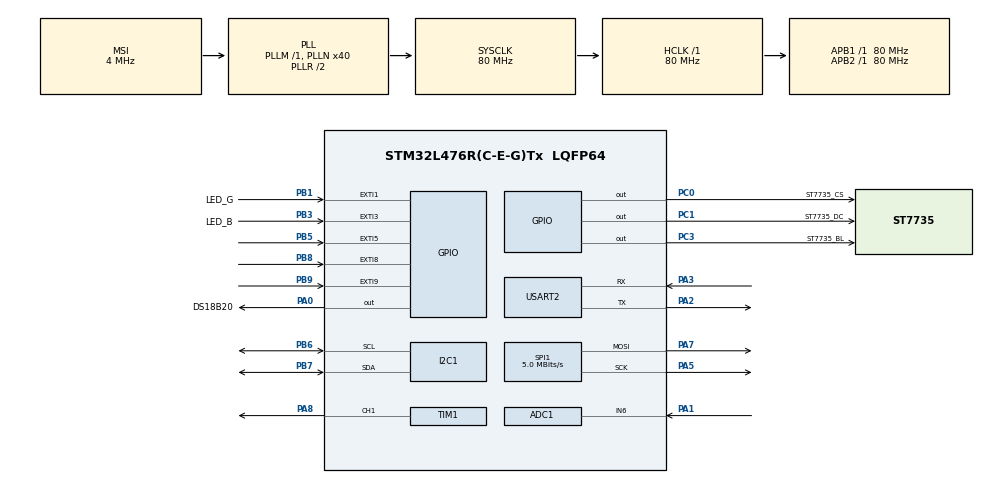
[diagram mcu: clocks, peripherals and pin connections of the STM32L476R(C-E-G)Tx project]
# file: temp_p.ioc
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ADC1.Channel-1\#ChannelRegularConversion=ADC_CHANNEL_6
ADC1.NbrOfConversionFlag=1
ADC1.OffsetNumber-1\#ChannelRegularConversion=ADC_OFFSET_NONE
ADC1.Rank-1\#ChannelRegularConversion=1
ADC1.SamplingTime-1\#ChannelRegularConversion=ADC_SAMPLETIME_2CYCLES_5
ADC1.master=1
I2C1.Timing=0x10D19CE4
Mcu.Family=STM32L4
Mcu.Name=STM32L476R(C-E-G)Tx
Mcu.Package=LQFP64
NVIC.EXTI9_5_IRQn=true\:0\:0\:false\:false\:true\:true\:true\:true
NVIC.PriorityGroup=NVIC_PRIORITYGROUP_4
PA0.GPIO_Label=DS18B20
PA0.GPIO_ModeDefaultOutputPP=GPIO_MODE_OUTPUT_OD
PA0.GPIO_PuPd=GPIO_NOPULL
PA0.GPIO_Speed=GPIO_SPEED_FREQ_HIGH
PA0.Signal=GPIO_Output
PA1.Signal=ADCx_IN6
PA13\ (JTMS-SWDIO).Mode=Serial_Wire
PA13\ (JTMS-SWDIO).Signal=SYS_JTMS-SWDIO
PA14\ (JTCK-SWCLK).Mode=Serial_Wire
PA14\ (JTCK-SWCLK).Signal=SYS_JTCK-SWCLK
PA2.Mode=Asynchronous
PA2.Signal=USART2_TX
PA3.Mode=Asynchronous
PA3.Signal=USART2_RX
PA5.Mode=TX_Only_Simplex_Unidirect_Master
PA5.Signal=SPI1_SCK
PA7.Mode=TX_Only_Simplex_Unidirect_Master
PA7.Signal=SPI1_MOSI
PA8.Signal=S_TIM1_CH1
PB1.GPIO_Label=LED_G
PB1.Signal=GPXTI1
PB3\ (JTDO-TRACESWO).GPIO_Label=LED_B
PB3\ (JTDO-TRACESWO).Signal=GPXTI3
PB5.GPIO_ModeDefaultEXTI=GPIO_MODE_IT_RISING_FALLING
PB5.GPIO_PuPd=GPIO_PULLUP
PB5.Signal=GPXTI5
PB6.Mode=I2C
PB6.Signal=I2C1_SCL
PB7.Mode=I2C
PB7.Signal=I2C1_SDA
PB8.GPIO_ModeDefaultEXTI=GPIO_MODE_IT_RISING_FALLING
PB8.GPIO_PuPd=GPIO_PULLUP
PB8.Signal=GPXTI8
PB9.GPIO_ModeDefaultEXTI=GPIO_MODE_IT_RISING_FALLING
PB9.GPIO_PuPd=GPIO_PULLUP
PB9.Signal=GPXTI9
PC0.GPIO_Label=ST7735_CS
PC0.Signal=GPIO_Output
PC1.GPIO_Label=ST7735_DC
PC1.Signal=GPIO_Output
PC2.GPIO_Label=RST
PC2.Signal=EVENTOUT
PC3.GPIO_Label=ST7735_BL
PC3.Signal=GPIO_Output
PH0-OSC_IN\ (PH0).Mode=HSE-External-Oscillator
PH0-OSC_IN\ (PH0).Signal=RCC_OSC_IN
PH1-OSC_OUT\ (PH1).Mode=HSE-External-Oscillator
PH1-OSC_OUT\ (PH1).Signal=RCC_OSC_OUT
ProjectManager.HeapSize=0x200
ProjectManager.StackSize=0x400
ProjectManager.TargetToolchain=STM32CubeIDE
RCC.ADCFreq_Value=32000000
RCC.AHBFreq_Value=80000000
RCC.APB1Freq_Value=80000000
RCC.APB1TimFreq_Value=80000000
RCC.APB2Freq_Value=80000000
RCC.APB2TimFreq_Value=80000000
RCC.CortexFreq_Value=80000000
RCC.HCLKFreq_Value=80000000
RCC.HSE_VALUE=8000000
RCC.HSI_VALUE=16000000
RCC.LSE_VALUE=32768
RCC.MSI_VALUE=4000000
RCC.PLLN=40
RCC.PLLSAI1N=16
RCC.SYSCLKFreq_VALUE=80000000
RCC.SYSCLKSource=RCC_SYSCLKSOURCE_PLLCLK
RCC.USBFreq_Value=32000000
RCC.VCOOutputFreq_Value=160000000
SH.ADCx_IN6.0=ADC1_IN6,IN6-Single-Ended
SH.S_TIM1_CH1.0=TIM1_CH1,PWM Generation1 CH1
SPI1.BaudRatePrescaler=SPI_BAUDRATEPRESCALER_16
SPI1.CalculateBaudRate=5.0 MBits/s
SPI1.Direction=SPI_DIRECTION_2LINES
SPI1.Mode=SPI_MODE_MASTER
SPI1.VirtualType=VM_MASTER
TIM1.Channel-PWM\ Generation1\ CH1=TIM_CHANNEL_1
TIM1.Period=3199
TIM2.Period=65535
TIM2.Prescaler=79
USART2.VirtualMode-Asynchronous=VM_ASYNC
VP_TIM2_VS_ClockSourceINT.Mode=Internal
board=custom

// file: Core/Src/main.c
/* USER CODE BEGIN Header */
/**
  ******************************************************************************
  * @file           : main.c
  * @brief          : Main program body
  ******************************************************************************
  * @attention
  *
  * Copyright (c) 2026 STMicroelectronics.
  * All rights reserved.
  *
  * This software is licensed under terms that can be found in the LICENSE file
  * in the root directory of this software component.
  * If no LICENSE file comes with this software, it is provided AS-IS.
  *
  ******************************************************************************
  */
/* USER CODE END Header */
#include "main.h"
#include "adc.h"
#include "i2c.h"
#include "spi.h"
#include "tim.h"
#include "usart.h"
#include "gpio.h"

/* USER CODE BEGIN Includes */
#include <stdio.h>
#include <string.h>
#include "ds18b20.h"
#include "encoder.h"
#include "thermostat.h"
#include "st7735.h"
/* USER CODE END Includes */

void SystemClock_Config(void);

/* USER CODE BEGIN 0 */
static uint8_t ADC_ReadPWM(void)
{
    HAL_ADC_Start(&hadc1);
    HAL_ADC_PollForConversion(&hadc1, 10);
    uint32_t val = HAL_ADC_GetValue(&hadc1);
    HAL_ADC_Stop(&hadc1);
    return (uint8_t)(val * 100 / 4095);
}

static void Display_Update(float temp, float setpoint, uint8_t pwm, const char* state_str)
{
    char buf[22];
    sprintf(buf, "Temp: %5.1f C  ", temp);
    ST7735_WriteString(5, 10, buf, Font_7x10, ST7735_WHITE, ST7735_BLACK);
    sprintf(buf, "Set:  %5.1f C  ", setpoint);
    ST7735_WriteString(5, 30, buf, Font_7x10, ST7735_WHITE, ST7735_BLACK);
    sprintf(buf, "PWM:    %3d %%  ", pwm);
    ST7735_WriteString(5, 50, buf, Font_7x10, ST7735_WHITE, ST7735_BLACK);
    sprintf(buf, "Stan: %-8s", state_str);
    ST7735_WriteString(5, 70, buf, Font_7x10, ST7735_WHITE, ST7735_BLACK);
}
/* USER CODE END 0 */

int main(void)
{

  /* MCU Configuration--------------------------------------------------------*/

  /* Reset of all peripherals, Initializes the Flash interface and the Systick. */
  HAL_Init();

  /* Configure the system clock */
  SystemClock_Config();

  /* Initialize all configured peripherals */
  MX_GPIO_Init();
  MX_I2C1_Init();
  MX_TIM1_Init();
  MX_TIM2_Init();
  MX_USART2_UART_Init();
  MX_SPI1_Init();
  MX_ADC1_Init();
  /* USER CODE BEGIN 2 */
  HAL_TIM_PWM_Start(&htim1, TIM_CHANNEL_1);
  __HAL_TIM_SET_COMPARE(&htim1,TIM_CHANNEL_1,0);
  //HAL_ADCEx_Calibration_Start(&hadc1, ADC_SINGLE_ENDED);
  DS18B20_Init();
  Encoder_Init();
  Thermostat_Init();
  ST7735_Init();
  ST7735_FillScreen(ST7735_BLACK);
  /* USER CODE END 2 */

  /* Infinite loop */
  while (1)
  {

    /* USER CODE BEGIN 3 */
	  float temp = DS18B20_ReadTemp();
	  float setpoint = Encoder_GetSetpoint();
	  //uint8_t pwm = ADC_ReadPWM();
	  //Thermostat_SetPWM(pwm);
	  Thermostat_Update(temp, setpoint);

	  ThermoState_t state = Thermostat_GetState();
	  HAL_GPIO_WritePin(GPIOB, GPIO_PIN_0, state == THERMO_COOLDOWN ? GPIO_PIN_RESET : GPIO_PIN_SET); // R
	  HAL_GPIO_WritePin(GPIOB, GPIO_PIN_1, state == THERMO_FAN_ON  ? GPIO_PIN_RESET : GPIO_PIN_SET); // G
	  HAL_GPIO_WritePin(GPIOB, GPIO_PIN_3, state == THERMO_IDLE    ? GPIO_PIN_RESET : GPIO_PIN_SET); // B
	  const char* state_str;
	  switch(state)
	  {
	      case THERMO_IDLE:     state_str = "IDLE";     break;
	      case THERMO_FAN_ON:   state_str = "FAN_ON";   break;
	      case THERMO_COOLDOWN: state_str = "COOLDOWN"; break;
	      default:              state_str = "UNKNOWN";  break;
	  }

	  Display_Update(temp, setpoint, Thermostat_GetPWM(), state_str);

	  char uart_buf[64];
	  int uart_len = snprintf(uart_buf, sizeof(uart_buf), "T=%.2f SP=%.2f PWM=%d STATE=%s\r\n",
	                          temp, setpoint, Thermostat_GetPWM(), state_str);
	  HAL_UART_Transmit(&huart2, (uint8_t*)uart_buf, uart_len, 200);

	  HAL_Delay(500);
  }
  /* USER CODE END 3 */
}

void SystemClock_Config(void)
{
  RCC_OscInitTypeDef RCC_OscInitStruct = {0};
  RCC_ClkInitTypeDef RCC_ClkInitStruct = {0};

  /** Configure the main internal regulator output voltage
  */
  if (HAL_PWREx_ControlVoltageScaling(PWR_REGULATOR_VOLTAGE_SCALE1) != HAL_OK)
  {
    Error_Handler();
  }

  /** Initializes the RCC Oscillators according to the specified parameters
  * in the RCC_OscInitTypeDef structure.
  */
  RCC_OscInitStruct.OscillatorType = RCC_OSCILLATORTYPE_MSI;
  RCC_OscInitStruct.MSIState = RCC_MSI_ON;
  RCC_OscInitStruct.MSICalibrationValue = 0;
  RCC_OscInitStruct.MSIClockRange = RCC_MSIRANGE_6;
  RCC_OscInitStruct.PLL.PLLState = RCC_PLL_ON;
  RCC_OscInitStruct.PLL.PLLSource = RCC_PLLSOURCE_MSI;
  RCC_OscInitStruct.PLL.PLLM = 1;
  RCC_OscInitStruct.PLL.PLLN = 40;
  RCC_OscInitStruct.PLL.PLLP = RCC_PLLP_DIV7;
  RCC_OscInitStruct.PLL.PLLQ = RCC_PLLQ_DIV2;
  RCC_OscInitStruct.PLL.PLLR = RCC_PLLR_DIV2;
  if (HAL_RCC_OscConfig(&RCC_OscInitStruct) != HAL_OK)
  {
    Error_Handler();
  }

  /** Initializes the CPU, AHB and APB buses clocks
  */
  RCC_ClkInitStruct.ClockType = RCC_CLOCKTYPE_HCLK|RCC_CLOCKTYPE_SYSCLK
                              |RCC_CLOCKTYPE_PCLK1|RCC_CLOCKTYPE_PCLK2;
  RCC_ClkInitStruct.SYSCLKSource = RCC_SYSCLKSOURCE_PLLCLK;
  RCC_ClkInitStruct.AHBCLKDivider = RCC_SYSCLK_DIV1;
  RCC_ClkInitStruct.APB1CLKDivider = RCC_HCLK_DIV1;
  RCC_ClkInitStruct.APB2CLKDivider = RCC_HCLK_DIV1;

  if (HAL_RCC_ClockConfig(&RCC_ClkInitStruct, FLASH_LATENCY_4) != HAL_OK)
  {
    Error_Handler();
  }
}

/* USER CODE BEGIN 4 */
int __io_putchar(int ch){
	HAL_UART_Transmit(&huart2,(uint8_t *)&ch, 1, 100);
	return ch;
}
/* USER CODE END 4 */

void Error_Handler(void)
{
  __disable_irq();
  while (1)
  {
  }
}
